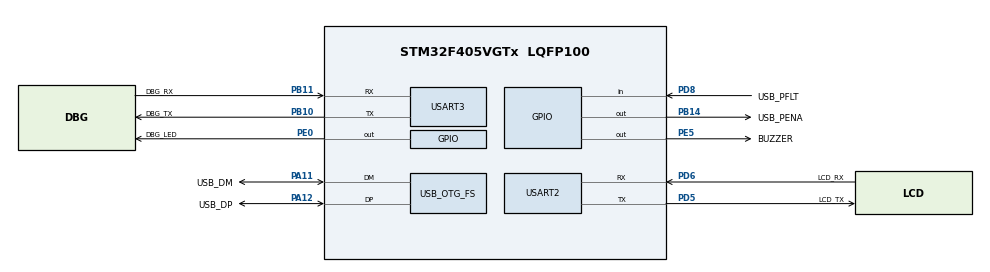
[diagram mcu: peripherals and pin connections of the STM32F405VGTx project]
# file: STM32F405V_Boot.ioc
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Dma.Request0=USART2_RX
Dma.USART2_RX.0.Direction=DMA_PERIPH_TO_MEMORY
Dma.USART2_RX.0.FIFOMode=DMA_FIFOMODE_DISABLE
Dma.USART2_RX.0.Instance=DMA1_Stream5
Dma.USART2_RX.0.MemDataAlignment=DMA_MDATAALIGN_BYTE
Dma.USART2_RX.0.MemInc=DMA_MINC_ENABLE
Dma.USART2_RX.0.Mode=DMA_CIRCULAR
Dma.USART2_RX.0.PeriphDataAlignment=DMA_PDATAALIGN_BYTE
Dma.USART2_RX.0.PeriphInc=DMA_PINC_DISABLE
Dma.USART2_RX.0.Priority=DMA_PRIORITY_LOW
Mcu.Family=STM32F4
Mcu.Name=STM32F405VGTx
Mcu.Package=LQFP100
NVIC.DMA1_Stream5_IRQn=true\:0\:0\:false\:false\:true\:false\:true\:true
NVIC.OTG_FS_IRQn=true\:0\:0\:false\:false\:true\:false\:true\:true
NVIC.PriorityGroup=NVIC_PRIORITYGROUP_4
NVIC.USART2_IRQn=true\:0\:0\:false\:false\:true\:true\:true\:true
NVIC.USART3_IRQn=true\:0\:0\:false\:false\:true\:true\:true\:true
PA11.GPIO_Label=USB_DM
PA11.Mode=Host_Only
PA11.Signal=USB_OTG_FS_DM
PA12.GPIO_Label=USB_DP
PA12.Mode=Host_Only
PA12.Signal=USB_OTG_FS_DP
PA13.GPIO_Label=JTMS
PA13.Mode=Trace_Asynchronous_SW
PA13.Signal=SYS_JTMS-SWDIO
PA14.GPIO_Label=JTCK
PA14.Mode=Trace_Asynchronous_SW
PA14.Signal=SYS_JTCK-SWCLK
PB10.GPIO_Label=DBG_TX
PB10.Mode=Asynchronous
PB10.Signal=USART3_TX
PB11.GPIO_Label=DBG_RX
PB11.Mode=Asynchronous
PB11.Signal=USART3_RX
PB14.GPIO_Label=USB_PENA
PB14.Signal=GPIO_Output
PB3.GPIO_Label=JTDO
PB3.Mode=Trace_Asynchronous_SW
PB3.Signal=SYS_JTDO-SWO
PD5.GPIO_Label=LCD_TX
PD5.Mode=Asynchronous
PD5.Signal=USART2_TX
PD6.GPIO_Label=LCD_RX
PD6.Mode=Asynchronous
PD6.Signal=USART2_RX
PD8.GPIO_Label=USB_PFLT
PD8.Signal=GPIO_Input
PE0.GPIO_Label=DBG_LED
PE0.Signal=GPIO_Output
PE5.GPIO_Label=BUZZER
PE5.Signal=GPIO_Output
PH0-OSC_IN.Mode=HSE-External-Oscillator
PH0-OSC_IN.Signal=RCC_OSC_IN
PH1-OSC_OUT.Mode=HSE-External-Oscillator
PH1-OSC_OUT.Signal=RCC_OSC_OUT
ProjectManager.HeapSize=0x200
ProjectManager.StackSize=0x400
ProjectManager.TargetToolchain=STM32CubeIDE
RCC.48MHZClocksFreq_Value=48000000
RCC.AHBFreq_Value=168000000
RCC.APB1CLKDivider=RCC_HCLK_DIV4
RCC.APB1Freq_Value=42000000
RCC.APB1TimFreq_Value=84000000
RCC.APB2CLKDivider=RCC_HCLK_DIV2
RCC.APB2Freq_Value=84000000
RCC.APB2TimFreq_Value=168000000
RCC.CortexFreq_Value=168000000
RCC.HCLKFreq_Value=168000000
RCC.HSE_VALUE=25000000
RCC.HSI_VALUE=16000000
RCC.LSE_VALUE=32768
RCC.PLLM=25
RCC.PLLN=336
RCC.PLLQ=7
RCC.SYSCLKFreq_VALUE=168000000
RCC.SYSCLKSource=RCC_SYSCLKSOURCE_PLLCLK
RCC.VCOOutputFreq_Value=336000000
USART2.VirtualMode=VM_ASYNC
USART3.VirtualMode=VM_ASYNC
USB_HOST.BSP.number=1
USB_HOST.USBH_HandleTypeDef-MSC_FS=hUsbHostFS
USB_HOST.VirtualModeFS=Msc
USB_HOST0.BSP.STBoard=false
USB_HOST0.BSP.api=Unknown
USB_HOST0.BSP.condition=SW_VBUS_DRIVE_MSC_FS \= false
USB_HOST0.BSP.instance=PB14
USB_HOST0.BSP.ip=GPIO
USB_HOST0.BSP.mode=Output
USB_HOST0.BSP.name=Drive_VBUS_FS
USB_HOST0.BSP.solution=PB14
USB_OTG_FS.VirtualMode=Host_Only
USB_OTG_FS.phy_itface=HCD_PHY_EMBEDDED
VP_FATFS_VS_USB.Mode=USB
VP_USB_HOST_VS_USB_HOST_MSC_FS.Mode=MSC_FS
board=custom

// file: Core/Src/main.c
/* USER CODE BEGIN Header */
/**
  ******************************************************************************
  * @file           : main.c
  * @brief          : Main program body
  ******************************************************************************
  * @attention
  *
  * Copyright (c) 2026 STMicroelectronics.
  * All rights reserved.
  *
  * This software is licensed under terms that can be found in the LICENSE file
  * in the root directory of this software component.
  * If no LICENSE file comes with this software, it is provided AS-IS.
  *
  ******************************************************************************
  */
/* USER CODE END Header */
#include "main.h"
#include "fatfs.h"
#include "usb_host.h"

/* USER CODE BEGIN Includes */
#include "usb_update.h"
#include "uart_update.h"
#include "flash_engine.h"
/* USER CODE END Includes */

UART_HandleTypeDef huart2;
UART_HandleTypeDef huart3;
DMA_HandleTypeDef hdma_usart2_rx;

/* USER CODE BEGIN PV */
extern ApplicationTypeDef Appli_state;
/* USER CODE END PV */

void SystemClock_Config(void);
static void MX_GPIO_Init(void);
static void MX_DMA_Init(void);
static void MX_USART2_UART_Init(void);
static void MX_USART3_UART_Init(void);
void MX_USB_HOST_Process(void);

int main(void)
{

  /* MCU Configuration--------------------------------------------------------*/

  /* Reset of all peripherals, Initializes the Flash interface and the Systick. */
  HAL_Init();

  /* Configure the system clock */
  SystemClock_Config();

  /* Initialize all configured peripherals */
  MX_GPIO_Init();
  MX_DMA_Init();
  MX_USART2_UART_Init();
  MX_USART3_UART_Init();
  MX_USB_HOST_Init();
  MX_FATFS_Init();
  /* USER CODE BEGIN 2 */
  // 1. 하드웨어 초기화
  uartUpdateInit();

  printf("[BOOT] Bootloader Started. Checking for updates...\r\n");

  // ------------------------------------------------------------------
  // 0. 플래그 상태 점검 및 초기화
  //    - PASS/READY가 아니면 'NEW'로 초기화하여 반드시 업데이트 모드 진입
  //    - 필요시 'ING'로 바로 업데이트 모드 진입하도록 선택 구현 가능
  // ------------------------------------------------------------------
  uint32_t current_f = Get_Flag();
  if (current_f != FLAG_PASS && current_f !=  FLAG_READY  )
  {
    printf("[BOOT] Flash FLAG=0x%08lX (not PASS/READY). Set to NEW.\r\n", current_f);
    // Update_Flag(FLAG_ING); // 바로 업데이트 모드 진입 원할 때 사용
    Update_Flag(FLAG_NEW);    // 신규/이상치면 무조건 업데이트 유도
  }

  /* USER CODE END 2 */

  /* Infinite loop */
  /* USER CODE BEGIN WHILE */
  while (1)
  {
    uint32_t start_tick = HAL_GetTick();
    bool usb_success = false;
    bool uart_success = false;

    /* ------------------------------------------------------------------ */
    /* STEP 1. USB 인식 대기 (최대 2초)               */
    /* ------------------------------------------------------------------ */
    printf("[BOOT] USB Waiting... (Max 2s)\r\n");
    while ((HAL_GetTick() - start_tick) < 2000)
    {
    /* USER CODE END WHILE */
    MX_USB_HOST_Process();

    /* USER CODE BEGIN 3 */
    if (Appli_state == APPLICATION_READY)
        {
            printf("[USB] File Found! Starting update...\r\n");
            Process_USB_Update(); // USB 업데이트 실행

            if (Get_Flag() == FLAG_PASS) {
                usb_success = true;
                break;
            }
            Appli_state = APPLICATION_IDLE;
        }
    }
    if (usb_success) break; // USB 성공 시 루프 탈출 -> 앱으로 점프

    /* ------------------------------------------------------------------ */
    /* STEP 2. UART 강제 업데이트 대기 (FLAG_PASS 일때 ) */
    /* ------------------------------------------------------------------ */

    // 2초 동안 강제 업데이트 트리거 대기
    uint32_t uart_trigger_start = HAL_GetTick();
    printf("[BOOT] UART Force Update Trigger Waiting... (Max 2s, FLAG=0x%08lX)\r\n", Get_Flag());
    while ((HAL_GetTick() - uart_trigger_start) < 2000)
    {
      uartCheckForceUpdateTrigger(); // FLAG_PASS일 때 안드로이드의 0x73(CMD 1) 수신 여부 확인 (강제 진입 트리거)
      HAL_Delay(1); // CPU 점유율 방지
    }

    /* ------------------------------------------------------------------ */
    /* STEP 3. UART 업데이트 대기 (NEW일 땐 무한, 아닐 땐 3초) */
    /* ------------------------------------------------------------------ */
    start_tick = HAL_GetTick();
    printf("[BOOT] UART Waiting... (FLAG=0x%08lX)\r\n", Get_Flag());

    while (1)
    {
      // 1. 상태를 먼저 확인 (가장 최신 플래그 값 읽기)
      uint32_t current_f = Get_Flag();

      // 2. 성공 시 즉시 탈출 (불필요한 노크 방지)
      if (current_f == FLAG_PASS) {
        uart_success = true;
        break;
      }

      // 3. PASS가 아닌 경우(NEW, READY, ING)에만 핸드쉐이크/업데이트 진행
      // 이 안에서 250ms 간격으로 노크를 보냅니다.
      uartUpdateProcess();

      // [참고] 만약 이 루프가 USB 체크 루프 내부에 있는 것이 아니라면
      // CPU 점유율을 위해 아주 짧은 지연을 줄 수도 있습니다.
      HAL_Delay(1);
    }

    if (uart_success) break; // UART 성공 시 루프 탈출 -> 앱으로 점프
  }

  /* ---------------------------------------------------------------------- */
  /* STEP 3. 최종 점프 (모든 업데이트 프로세스 종료 후)       */
  /* ---------------------------------------------------------------------- */
  printf("[BOOT] Update Done! Jumping to App...\r\n");

  // 인터럽트 정리 및 DeInit (점프 전 필수)
  __disable_irq();
  HAL_RCC_DeInit();
  HAL_DeInit();

  if (Is_App_Valid()) {
    Jump_To_Application(APP_START_ADDR);
  }

  while(1); // 점프 실패 시 대기
  /* USER CODE END 3 */
}

void SystemClock_Config(void)
{
  LL_FLASH_SetLatency(LL_FLASH_LATENCY_5);
  while(LL_FLASH_GetLatency()!= LL_FLASH_LATENCY_5)
  {
  }
  LL_PWR_SetRegulVoltageScaling(LL_PWR_REGU_VOLTAGE_SCALE1);
  LL_RCC_HSE_Enable();

   /* Wait till HSE is ready */
  while(LL_RCC_HSE_IsReady() != 1)
  {

  }
  LL_RCC_PLL_ConfigDomain_SYS(LL_RCC_PLLSOURCE_HSE, LL_RCC_PLLM_DIV_25, 336, LL_RCC_PLLP_DIV_2);
  LL_RCC_PLL_ConfigDomain_48M(LL_RCC_PLLSOURCE_HSE, LL_RCC_PLLM_DIV_25, 336, LL_RCC_PLLQ_DIV_7);
  LL_RCC_PLL_Enable();

   /* Wait till PLL is ready */
  while(LL_RCC_PLL_IsReady() != 1)
  {

  }
  while (LL_PWR_IsActiveFlag_VOS() == 0)
  {
  }
  LL_RCC_SetAHBPrescaler(LL_RCC_SYSCLK_DIV_1);
  LL_RCC_SetAPB1Prescaler(LL_RCC_APB1_DIV_4);
  LL_RCC_SetAPB2Prescaler(LL_RCC_APB2_DIV_2);
  LL_RCC_SetSysClkSource(LL_RCC_SYS_CLKSOURCE_PLL);

   /* Wait till System clock is ready */
  while(LL_RCC_GetSysClkSource() != LL_RCC_SYS_CLKSOURCE_STATUS_PLL)
  {

  }
  LL_SetSystemCoreClock(168000000);

   /* Update the time base */
  if (HAL_InitTick (TICK_INT_PRIORITY) != HAL_OK)
  {
    Error_Handler();
  }
}

static void MX_USART2_UART_Init(void)
{

  huart2.Instance = USART2;
  huart2.Init.BaudRate = 115200;
  huart2.Init.WordLength = UART_WORDLENGTH_8B;
  huart2.Init.StopBits = UART_STOPBITS_1;
  huart2.Init.Parity = UART_PARITY_NONE;
  huart2.Init.Mode = UART_MODE_TX_RX;
  huart2.Init.HwFlowCtl = UART_HWCONTROL_NONE;
  huart2.Init.OverSampling = UART_OVERSAMPLING_16;
  if (HAL_UART_Init(&huart2) != HAL_OK)
  {
    Error_Handler();
  }

}

static void MX_USART3_UART_Init(void)
{

  huart3.Instance = USART3;
  huart3.Init.BaudRate = 115200;
  huart3.Init.WordLength = UART_WORDLENGTH_8B;
  huart3.Init.StopBits = UART_STOPBITS_1;
  huart3.Init.Parity = UART_PARITY_NONE;
  huart3.Init.Mode = UART_MODE_TX_RX;
  huart3.Init.HwFlowCtl = UART_HWCONTROL_NONE;
  huart3.Init.OverSampling = UART_OVERSAMPLING_16;
  if (HAL_UART_Init(&huart3) != HAL_OK)
  {
    Error_Handler();
  }

}

static void MX_DMA_Init(void)
{

  /* DMA controller clock enable */
  __HAL_RCC_DMA1_CLK_ENABLE();

  /* DMA interrupt init */
  /* DMA1_Stream5_IRQn interrupt configuration */
  HAL_NVIC_SetPriority(DMA1_Stream5_IRQn, 0, 0);
  HAL_NVIC_EnableIRQ(DMA1_Stream5_IRQn);

}

static void MX_GPIO_Init(void)
{
  LL_GPIO_InitTypeDef GPIO_InitStruct = {0};

  /* GPIO Ports Clock Enable */
  LL_AHB1_GRP1_EnableClock(LL_AHB1_GRP1_PERIPH_GPIOE);
  LL_AHB1_GRP1_EnableClock(LL_AHB1_GRP1_PERIPH_GPIOH);
  LL_AHB1_GRP1_EnableClock(LL_AHB1_GRP1_PERIPH_GPIOB);
  LL_AHB1_GRP1_EnableClock(LL_AHB1_GRP1_PERIPH_GPIOD);
  LL_AHB1_GRP1_EnableClock(LL_AHB1_GRP1_PERIPH_GPIOA);

  /**/
  LL_GPIO_ResetOutputPin(GPIOE, BUZZER_Pin|DBG_LED_Pin);

  /**/
  LL_GPIO_ResetOutputPin(USB_PENA_GPIO_Port, USB_PENA_Pin);

  /**/
  GPIO_InitStruct.Pin = BUZZER_Pin|DBG_LED_Pin;
  GPIO_InitStruct.Mode = LL_GPIO_MODE_OUTPUT;
  GPIO_InitStruct.Speed = LL_GPIO_SPEED_FREQ_LOW;
  GPIO_InitStruct.OutputType = LL_GPIO_OUTPUT_PUSHPULL;
  GPIO_InitStruct.Pull = LL_GPIO_PULL_NO;
  LL_GPIO_Init(GPIOE, &GPIO_InitStruct);

  /**/
  GPIO_InitStruct.Pin = USB_PENA_Pin;
  GPIO_InitStruct.Mode = LL_GPIO_MODE_OUTPUT;
  GPIO_InitStruct.Speed = LL_GPIO_SPEED_FREQ_LOW;
  GPIO_InitStruct.OutputType = LL_GPIO_OUTPUT_PUSHPULL;
  GPIO_InitStruct.Pull = LL_GPIO_PULL_NO;
  LL_GPIO_Init(USB_PENA_GPIO_Port, &GPIO_InitStruct);

  /**/
  GPIO_InitStruct.Pin = USB_PFLT_Pin;
  GPIO_InitStruct.Mode = LL_GPIO_MODE_INPUT;
  GPIO_InitStruct.Pull = LL_GPIO_PULL_NO;
  LL_GPIO_Init(USB_PFLT_GPIO_Port, &GPIO_InitStruct);

}

void Error_Handler(void)
{
  __disable_irq();
  while (1)
  {
  }
}
